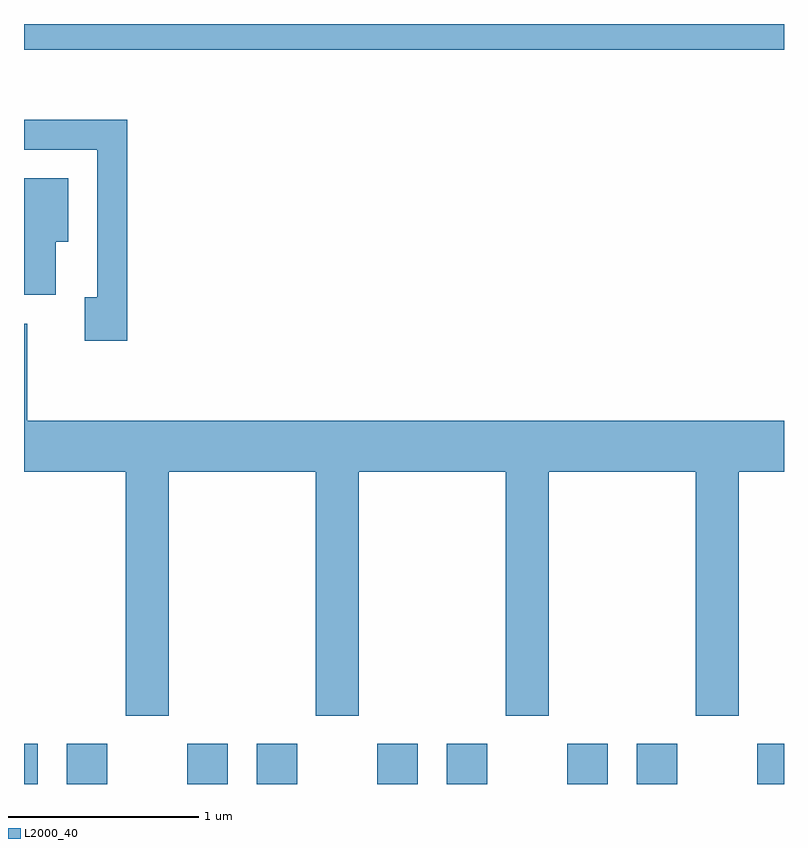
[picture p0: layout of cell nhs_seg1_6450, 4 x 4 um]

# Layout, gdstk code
import gdstk
lib = gdstk.Library(unit=1e-6, precision=1e-09)
def R(c, l, rs):  # rectangles x0, y0, x1, y1
    for r in rs: c.add(gdstk.rectangle(r[:2], r[2:], *l))
def P(c, l, *ps):  # polygons
    for p in ps: c.add(gdstk.Polygon(p, *l))
L2000_40 = (2000, 40)

nhs_seg1_6450 = lib.new_cell('nhs_seg1_6450')
R(nhs_seg1_6450, L2000_40, [(379.611,895.712,379.684,895.924), (379.836,895.712,380.049,895.924), (380.471,895.712,380.684,895.924), (380.836,895.712,381.049,895.924), (381.471,895.712,381.684,895.924), (381.836,895.712,382.049,895.924), (382.471,895.712,382.684,895.924), (382.836,895.712,383.049,895.924), (383.471,895.712,383.611,895.924), (379.611,899.576,383.611,899.712)])
P(nhs_seg1_6450, L2000_40, [(380.154,899.209),(379.611,899.209),(379.611,899.051),(379.996,899.051),(379.996,898.274),(379.931,898.274),(379.931,898.046),(380.154,898.046)],
  [(379.779,898.566),(379.844,898.566),(379.844,898.899),(379.611,898.899),(379.611,898.286),(379.779,898.286)],
  [(380.374,897.356),(381.146,897.356),(381.146,896.071),(381.374,896.071),(381.374,897.356),(382.146,897.356),(382.146,896.071),(382.374,896.071),(382.374,897.356),(383.146,897.356),(383.146,896.071),(383.374,896.071),(383.374,897.356),(383.611,897.356),(383.611,897.624),(379.629,897.624),(379.629,898.134),(379.611,898.134),(379.611,897.356),(380.146,897.356),(380.146,896.071),(380.374,896.071)])

lib.write_gds('nhs_seg1_6450.gds')
